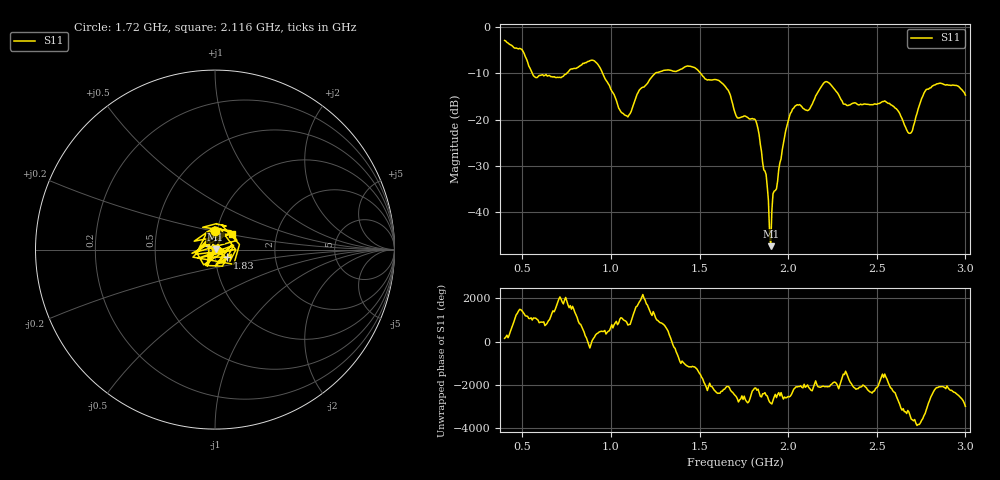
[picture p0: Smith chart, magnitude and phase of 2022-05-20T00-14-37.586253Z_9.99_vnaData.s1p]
!Created with skrf (http://scikit-rf.org).
# Hz S RI R 50.0
!freq ReS11 ImS11
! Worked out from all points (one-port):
!   401 points, 400 MHz to 3 GHz, reference 50 ohm
!   lowest |S11| = -47.3 dB at 1.901 GHz (marker M1), VSWR 1.01, Z = 50.3 + j0.263 ohm
!   |S11| at or under -10 dB: 555.8 MHz to 750.8 MHz (195 MHz wide, 29.8 % of centre); 952.8 MHz to 1.25 GHz (297.3 MHz wide, 27 % of centre); 1.506 GHz to end of sweep
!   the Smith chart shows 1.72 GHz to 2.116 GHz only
!   S11 on the Smith chart (normalised r, x): 1.72 GHz: 0.98, +0.20; 1.83 GHz: 1.14, -0.10; 2.116 GHz: 1.19, +0.21
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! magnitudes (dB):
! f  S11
! 400 MHz  -2.9
! 497.5 MHz  -4.9
! 569 MHz  -10.7
! 725 MHz  -10.8
! 907 MHz  -7.3
! 1.05 GHz  -17.9
! 1.102 GHz  -19.0
! 1.161 GHz  -13.6
! 1.252 GHz  -9.9
! 1.375 GHz  -9.5
! 1.46 GHz  -8.6
! 1.615 GHz  -11.8
! 1.7 GHz  -18.5
! 1.72 GHz  -19.7
! 1.804 GHz  -19.9
! 1.83 GHz  -22.0
! 1.901 GHz  -47.3
! 1.986 GHz  -22.4
! 2.025 GHz  -17.7
! 2.116 GHz  -17.9
! 2.213 GHz  -11.8
! 2.35 GHz  -16.8
! 2.558 GHz  -16.3
! 2.675 GHz  -22.7
! 2.701 GHz  -22.4
! 2.785 GHz  -13.4
! 2.864 GHz  -12.2
! 3 GHz  -14.7
